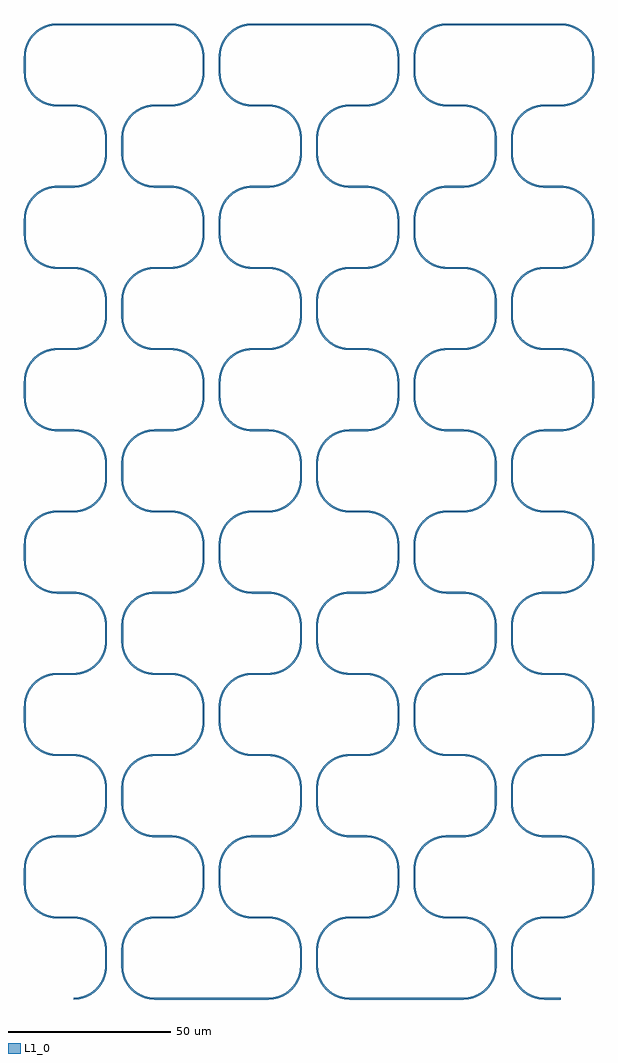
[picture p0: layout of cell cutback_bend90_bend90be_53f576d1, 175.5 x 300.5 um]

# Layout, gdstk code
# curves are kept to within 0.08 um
from math import pi, radians
import gdstk
lib = gdstk.Library(unit=1e-6, precision=1e-09)
def R(c, l, rs):  # rectangles x0, y0, x1, y1
    for r in rs: c.add(gdstk.rectangle(r[:2], r[2:], *l))
def P(c, l, *ps):  # polygons
    for p in ps: c.add(gdstk.Polygon(p, *l))
L1_0 = (1, 0)

bend_circular = lib.new_cell('bend_circular')
P(bend_circular, L1_0, [(0,-0.25),(1.967,-0.06),(3.013,0.203),(3.943,0.539),(5.685,1.471),(7.216,2.72),(8.479,4.24),(9.037,5.163),(9.461,6.057),(9.797,6.987),(10.06,8.033),(10.25,10),(9.75,10),(9.687,8.89),(9.516,7.878),(9.185,6.728),(8.79,5.781),(7.968,4.38),(6.924,3.136),(5.62,2.032),(4.219,1.21),(3.272,0.815),(2.122,0.484),(1.11,0.313),(0,0.25)])

straight_length5_width50 = lib.new_cell('straight_length5_width500n')
R(straight_length5_width50, L1_0, [(0,-0.25,5,0.25)])

straight_length30_width5 = lib.new_cell('straight_length30_width500n')
R(straight_length30_width5, L1_0, [(0,-0.25,30,0.25)])

cutback_bend90_bend90be_ = lib.new_cell('cutback_bend90_bend90be_53f576d1')
cutback_bend90_bend90be_.add(gdstk.Reference(bend_circular, (0,0)))
cutback_bend90_bend90be_.add(gdstk.Reference(straight_length5_width50, (10,10), rotation=pi/2))
cutback_bend90_bend90be_.add(gdstk.Reference(bend_circular, (10,15), rotation=pi/2))
cutback_bend90_bend90be_.add(gdstk.Reference(straight_length5_width50, (0,25), rotation=pi))
cutback_bend90_bend90be_.add(gdstk.Reference(bend_circular, (-15,35), rotation=3*pi/2))
cutback_bend90_bend90be_.add(gdstk.Reference(straight_length5_width50, (-15,35), rotation=pi/2))
cutback_bend90_bend90be_.add(gdstk.Reference(bend_circular, (-5,50), rotation=pi))
cutback_bend90_bend90be_.add(gdstk.Reference(straight_length5_width50, (-5,50)))
cutback_bend90_bend90be_.add(gdstk.Reference(bend_circular, (0,50)))
cutback_bend90_bend90be_.add(gdstk.Reference(straight_length5_width50, (10,60), rotation=pi/2))
cutback_bend90_bend90be_.add(gdstk.Reference(bend_circular, (10,65), rotation=pi/2))
cutback_bend90_bend90be_.add(gdstk.Reference(straight_length5_width50, (0,75), rotation=pi))
cutback_bend90_bend90be_.add(gdstk.Reference(bend_circular, (-15,85), rotation=3*pi/2))
cutback_bend90_bend90be_.add(gdstk.Reference(straight_length5_width50, (-15,85), rotation=pi/2))
cutback_bend90_bend90be_.add(gdstk.Reference(bend_circular, (-5,100), rotation=pi))
cutback_bend90_bend90be_.add(gdstk.Reference(straight_length5_width50, (-5,100)))
cutback_bend90_bend90be_.add(gdstk.Reference(bend_circular, (0,100)))
cutback_bend90_bend90be_.add(gdstk.Reference(straight_length5_width50, (10,110), rotation=pi/2))
cutback_bend90_bend90be_.add(gdstk.Reference(bend_circular, (10,115), rotation=pi/2))
cutback_bend90_bend90be_.add(gdstk.Reference(straight_length5_width50, (0,125), rotation=pi))
cutback_bend90_bend90be_.add(gdstk.Reference(bend_circular, (-15,135), rotation=3*pi/2))
cutback_bend90_bend90be_.add(gdstk.Reference(straight_length5_width50, (-15,135), rotation=pi/2))
cutback_bend90_bend90be_.add(gdstk.Reference(bend_circular, (-5,150), rotation=pi))
cutback_bend90_bend90be_.add(gdstk.Reference(straight_length5_width50, (-5,150)))
cutback_bend90_bend90be_.add(gdstk.Reference(bend_circular, (0,150)))
cutback_bend90_bend90be_.add(gdstk.Reference(straight_length5_width50, (10,160), rotation=pi/2))
cutback_bend90_bend90be_.add(gdstk.Reference(bend_circular, (10,165), rotation=pi/2))
cutback_bend90_bend90be_.add(gdstk.Reference(straight_length5_width50, (0,175), rotation=pi))
cutback_bend90_bend90be_.add(gdstk.Reference(bend_circular, (-15,185), rotation=3*pi/2))
cutback_bend90_bend90be_.add(gdstk.Reference(straight_length5_width50, (-15,185), rotation=pi/2))
cutback_bend90_bend90be_.add(gdstk.Reference(bend_circular, (-5,200), rotation=pi))
cutback_bend90_bend90be_.add(gdstk.Reference(straight_length5_width50, (-5,200)))
cutback_bend90_bend90be_.add(gdstk.Reference(bend_circular, (0,200)))
cutback_bend90_bend90be_.add(gdstk.Reference(straight_length5_width50, (10,210), rotation=pi/2))
cutback_bend90_bend90be_.add(gdstk.Reference(bend_circular, (10,215), rotation=pi/2))
cutback_bend90_bend90be_.add(gdstk.Reference(straight_length5_width50, (0,225), rotation=pi))
cutback_bend90_bend90be_.add(gdstk.Reference(bend_circular, (-15,235), rotation=3*pi/2))
cutback_bend90_bend90be_.add(gdstk.Reference(straight_length5_width50, (-15,235), rotation=pi/2))
cutback_bend90_bend90be_.add(gdstk.Reference(bend_circular, (-5,250), rotation=pi))
cutback_bend90_bend90be_.add(gdstk.Reference(straight_length5_width50, (-5,250)))
cutback_bend90_bend90be_.add(gdstk.Reference(bend_circular, (0,250)))
cutback_bend90_bend90be_.add(gdstk.Reference(straight_length5_width50, (10,260), rotation=pi/2))
cutback_bend90_bend90be_.add(gdstk.Reference(bend_circular, (10,265), rotation=pi/2))
cutback_bend90_bend90be_.add(gdstk.Reference(straight_length5_width50, (0,275), rotation=pi))
cutback_bend90_bend90be_.add(gdstk.Reference(bend_circular, (-15,285), rotation=3*pi/2))
cutback_bend90_bend90be_.add(gdstk.Reference(straight_length5_width50, (-15,285), rotation=pi/2))
cutback_bend90_bend90be_.add(gdstk.Reference(bend_circular, (-5,300), rotation=pi))
cutback_bend90_bend90be_.add(gdstk.Reference(straight_length5_width50, (-5,300)))
cutback_bend90_bend90be_.add(gdstk.Reference(straight_length30_width5, (0,300)))
cutback_bend90_bend90be_.add(gdstk.Reference(bend_circular, (40,290), rotation=pi/2))
cutback_bend90_bend90be_.add(gdstk.Reference(straight_length5_width50, (40,290), rotation=3*pi/2))
cutback_bend90_bend90be_.add(gdstk.Reference(bend_circular, (30,275)))
cutback_bend90_bend90be_.add(gdstk.Reference(straight_length5_width50, (30,275), rotation=pi))
cutback_bend90_bend90be_.add(gdstk.Reference(bend_circular, (25,275), rotation=pi))
cutback_bend90_bend90be_.add(gdstk.Reference(straight_length5_width50, (15,265), rotation=3*pi/2))
cutback_bend90_bend90be_.add(gdstk.Reference(bend_circular, (15,260), rotation=3*pi/2))
cutback_bend90_bend90be_.add(gdstk.Reference(straight_length5_width50, (25,250)))
cutback_bend90_bend90be_.add(gdstk.Reference(bend_circular, (40,240), rotation=pi/2))
cutback_bend90_bend90be_.add(gdstk.Reference(straight_length5_width50, (40,240), rotation=3*pi/2))
cutback_bend90_bend90be_.add(gdstk.Reference(bend_circular, (30,225)))
cutback_bend90_bend90be_.add(gdstk.Reference(straight_length5_width50, (30,225), rotation=pi))
cutback_bend90_bend90be_.add(gdstk.Reference(bend_circular, (25,225), rotation=pi))
cutback_bend90_bend90be_.add(gdstk.Reference(straight_length5_width50, (15,215), rotation=3*pi/2))
cutback_bend90_bend90be_.add(gdstk.Reference(bend_circular, (15,210), rotation=3*pi/2))
cutback_bend90_bend90be_.add(gdstk.Reference(straight_length5_width50, (25,200)))
cutback_bend90_bend90be_.add(gdstk.Reference(bend_circular, (40,190), rotation=pi/2))
cutback_bend90_bend90be_.add(gdstk.Reference(straight_length5_width50, (40,190), rotation=3*pi/2))
cutback_bend90_bend90be_.add(gdstk.Reference(bend_circular, (30,175)))
cutback_bend90_bend90be_.add(gdstk.Reference(straight_length5_width50, (30,175), rotation=pi))
cutback_bend90_bend90be_.add(gdstk.Reference(bend_circular, (25,175), rotation=pi))
cutback_bend90_bend90be_.add(gdstk.Reference(straight_length5_width50, (15,165), rotation=3*pi/2))
cutback_bend90_bend90be_.add(gdstk.Reference(bend_circular, (15,160), rotation=3*pi/2))
cutback_bend90_bend90be_.add(gdstk.Reference(straight_length5_width50, (25,150)))
cutback_bend90_bend90be_.add(gdstk.Reference(bend_circular, (40,140), rotation=pi/2))
cutback_bend90_bend90be_.add(gdstk.Reference(straight_length5_width50, (40,140), rotation=3*pi/2))
cutback_bend90_bend90be_.add(gdstk.Reference(bend_circular, (30,125)))
cutback_bend90_bend90be_.add(gdstk.Reference(straight_length5_width50, (30,125), rotation=pi))
cutback_bend90_bend90be_.add(gdstk.Reference(bend_circular, (25,125), rotation=pi))
cutback_bend90_bend90be_.add(gdstk.Reference(straight_length5_width50, (15,115), rotation=3*pi/2))
cutback_bend90_bend90be_.add(gdstk.Reference(bend_circular, (15,110), rotation=3*pi/2))
cutback_bend90_bend90be_.add(gdstk.Reference(straight_length5_width50, (25,100)))
cutback_bend90_bend90be_.add(gdstk.Reference(bend_circular, (40,90), rotation=pi/2))
cutback_bend90_bend90be_.add(gdstk.Reference(straight_length5_width50, (40,90), rotation=3*pi/2))
cutback_bend90_bend90be_.add(gdstk.Reference(bend_circular, (30,75)))
cutback_bend90_bend90be_.add(gdstk.Reference(straight_length5_width50, (30,75), rotation=pi))
cutback_bend90_bend90be_.add(gdstk.Reference(bend_circular, (25,75), rotation=pi))
cutback_bend90_bend90be_.add(gdstk.Reference(straight_length5_width50, (15,65), rotation=3*pi/2))
cutback_bend90_bend90be_.add(gdstk.Reference(bend_circular, (15,60), rotation=3*pi/2))
cutback_bend90_bend90be_.add(gdstk.Reference(straight_length5_width50, (25,50)))
cutback_bend90_bend90be_.add(gdstk.Reference(bend_circular, (40,40), rotation=pi/2))
cutback_bend90_bend90be_.add(gdstk.Reference(straight_length5_width50, (40,40), rotation=3*pi/2))
cutback_bend90_bend90be_.add(gdstk.Reference(bend_circular, (30,25)))
cutback_bend90_bend90be_.add(gdstk.Reference(straight_length5_width50, (30,25), rotation=pi))
cutback_bend90_bend90be_.add(gdstk.Reference(bend_circular, (25,25), rotation=pi))
cutback_bend90_bend90be_.add(gdstk.Reference(straight_length5_width50, (15,15), rotation=3*pi/2))
cutback_bend90_bend90be_.add(gdstk.Reference(bend_circular, (15,10), rotation=3*pi/2))
cutback_bend90_bend90be_.add(gdstk.Reference(straight_length5_width50, (25,0)))
cutback_bend90_bend90be_.add(gdstk.Reference(straight_length30_width5, (30,0)))
cutback_bend90_bend90be_.add(gdstk.Reference(bend_circular, (60,0)))
cutback_bend90_bend90be_.add(gdstk.Reference(straight_length5_width50, (70,10), rotation=pi/2))
cutback_bend90_bend90be_.add(gdstk.Reference(bend_circular, (70,15), rotation=pi/2))
cutback_bend90_bend90be_.add(gdstk.Reference(straight_length5_width50, (60,25), rotation=pi))
cutback_bend90_bend90be_.add(gdstk.Reference(bend_circular, (45,35), rotation=3*pi/2))
cutback_bend90_bend90be_.add(gdstk.Reference(straight_length5_width50, (45,35), rotation=pi/2))
cutback_bend90_bend90be_.add(gdstk.Reference(bend_circular, (55,50), rotation=pi))
cutback_bend90_bend90be_.add(gdstk.Reference(straight_length5_width50, (55,50)))
cutback_bend90_bend90be_.add(gdstk.Reference(bend_circular, (60,50)))
cutback_bend90_bend90be_.add(gdstk.Reference(straight_length5_width50, (70,60), rotation=pi/2))
cutback_bend90_bend90be_.add(gdstk.Reference(bend_circular, (70,65), rotation=pi/2))
cutback_bend90_bend90be_.add(gdstk.Reference(straight_length5_width50, (60,75), rotation=pi))
cutback_bend90_bend90be_.add(gdstk.Reference(bend_circular, (45,85), rotation=3*pi/2))
cutback_bend90_bend90be_.add(gdstk.Reference(straight_length5_width50, (45,85), rotation=pi/2))
cutback_bend90_bend90be_.add(gdstk.Reference(bend_circular, (55,100), rotation=pi))
cutback_bend90_bend90be_.add(gdstk.Reference(straight_length5_width50, (55,100)))
cutback_bend90_bend90be_.add(gdstk.Reference(bend_circular, (60,100)))
cutback_bend90_bend90be_.add(gdstk.Reference(straight_length5_width50, (70,110), rotation=pi/2))
cutback_bend90_bend90be_.add(gdstk.Reference(bend_circular, (70,115), rotation=pi/2))
cutback_bend90_bend90be_.add(gdstk.Reference(straight_length5_width50, (60,125), rotation=pi))
cutback_bend90_bend90be_.add(gdstk.Reference(bend_circular, (45,135), rotation=3*pi/2))
cutback_bend90_bend90be_.add(gdstk.Reference(straight_length5_width50, (45,135), rotation=pi/2))
cutback_bend90_bend90be_.add(gdstk.Reference(bend_circular, (55,150), rotation=pi))
cutback_bend90_bend90be_.add(gdstk.Reference(straight_length5_width50, (55,150)))
cutback_bend90_bend90be_.add(gdstk.Reference(bend_circular, (60,150)))
cutback_bend90_bend90be_.add(gdstk.Reference(straight_length5_width50, (70,160), rotation=pi/2))
cutback_bend90_bend90be_.add(gdstk.Reference(bend_circular, (70,165), rotation=pi/2))
cutback_bend90_bend90be_.add(gdstk.Reference(straight_length5_width50, (60,175), rotation=pi))
cutback_bend90_bend90be_.add(gdstk.Reference(bend_circular, (45,185), rotation=3*pi/2))
cutback_bend90_bend90be_.add(gdstk.Reference(straight_length5_width50, (45,185), rotation=pi/2))
cutback_bend90_bend90be_.add(gdstk.Reference(bend_circular, (55,200), rotation=pi))
cutback_bend90_bend90be_.add(gdstk.Reference(straight_length5_width50, (55,200)))
cutback_bend90_bend90be_.add(gdstk.Reference(bend_circular, (60,200)))
cutback_bend90_bend90be_.add(gdstk.Reference(straight_length5_width50, (70,210), rotation=pi/2))
cutback_bend90_bend90be_.add(gdstk.Reference(bend_circular, (70,215), rotation=pi/2))
cutback_bend90_bend90be_.add(gdstk.Reference(straight_length5_width50, (60,225), rotation=pi))
cutback_bend90_bend90be_.add(gdstk.Reference(bend_circular, (45,235), rotation=3*pi/2))
cutback_bend90_bend90be_.add(gdstk.Reference(straight_length5_width50, (45,235), rotation=pi/2))
cutback_bend90_bend90be_.add(gdstk.Reference(bend_circular, (55,250), rotation=pi))
cutback_bend90_bend90be_.add(gdstk.Reference(straight_length5_width50, (55,250)))
cutback_bend90_bend90be_.add(gdstk.Reference(bend_circular, (60,250)))
cutback_bend90_bend90be_.add(gdstk.Reference(straight_length5_width50, (70,260), rotation=pi/2))
cutback_bend90_bend90be_.add(gdstk.Reference(bend_circular, (70,265), rotation=pi/2))
cutback_bend90_bend90be_.add(gdstk.Reference(straight_length5_width50, (60,275), rotation=pi))
cutback_bend90_bend90be_.add(gdstk.Reference(bend_circular, (45,285), rotation=3*pi/2))
cutback_bend90_bend90be_.add(gdstk.Reference(straight_length5_width50, (45,285), rotation=pi/2))
cutback_bend90_bend90be_.add(gdstk.Reference(bend_circular, (55,300), rotation=pi))
cutback_bend90_bend90be_.add(gdstk.Reference(straight_length5_width50, (55,300)))
cutback_bend90_bend90be_.add(gdstk.Reference(straight_length30_width5, (60,300)))
cutback_bend90_bend90be_.add(gdstk.Reference(bend_circular, (100,290), rotation=pi/2))
cutback_bend90_bend90be_.add(gdstk.Reference(straight_length5_width50, (100,290), rotation=3*pi/2))
cutback_bend90_bend90be_.add(gdstk.Reference(bend_circular, (90,275)))
cutback_bend90_bend90be_.add(gdstk.Reference(straight_length5_width50, (90,275), rotation=pi))
cutback_bend90_bend90be_.add(gdstk.Reference(bend_circular, (85,275), rotation=pi))
cutback_bend90_bend90be_.add(gdstk.Reference(straight_length5_width50, (75,265), rotation=3*pi/2))
cutback_bend90_bend90be_.add(gdstk.Reference(bend_circular, (75,260), rotation=3*pi/2))
cutback_bend90_bend90be_.add(gdstk.Reference(straight_length5_width50, (85,250)))
cutback_bend90_bend90be_.add(gdstk.Reference(bend_circular, (100,240), rotation=pi/2))
cutback_bend90_bend90be_.add(gdstk.Reference(straight_length5_width50, (100,240), rotation=3*pi/2))
cutback_bend90_bend90be_.add(gdstk.Reference(bend_circular, (90,225)))
cutback_bend90_bend90be_.add(gdstk.Reference(straight_length5_width50, (90,225), rotation=pi))
cutback_bend90_bend90be_.add(gdstk.Reference(bend_circular, (85,225), rotation=pi))
cutback_bend90_bend90be_.add(gdstk.Reference(straight_length5_width50, (75,215), rotation=3*pi/2))
cutback_bend90_bend90be_.add(gdstk.Reference(bend_circular, (75,210), rotation=3*pi/2))
cutback_bend90_bend90be_.add(gdstk.Reference(straight_length5_width50, (85,200)))
cutback_bend90_bend90be_.add(gdstk.Reference(bend_circular, (100,190), rotation=pi/2))
cutback_bend90_bend90be_.add(gdstk.Reference(straight_length5_width50, (100,190), rotation=3*pi/2))
cutback_bend90_bend90be_.add(gdstk.Reference(bend_circular, (90,175)))
cutback_bend90_bend90be_.add(gdstk.Reference(straight_length5_width50, (90,175), rotation=pi))
cutback_bend90_bend90be_.add(gdstk.Reference(bend_circular, (85,175), rotation=pi))
cutback_bend90_bend90be_.add(gdstk.Reference(straight_length5_width50, (75,165), rotation=3*pi/2))
cutback_bend90_bend90be_.add(gdstk.Reference(bend_circular, (75,160), rotation=3*pi/2))
cutback_bend90_bend90be_.add(gdstk.Reference(straight_length5_width50, (85,150)))
cutback_bend90_bend90be_.add(gdstk.Reference(bend_circular, (100,140), rotation=pi/2))
cutback_bend90_bend90be_.add(gdstk.Reference(straight_length5_width50, (100,140), rotation=3*pi/2))
cutback_bend90_bend90be_.add(gdstk.Reference(bend_circular, (90,125)))
cutback_bend90_bend90be_.add(gdstk.Reference(straight_length5_width50, (90,125), rotation=pi))
cutback_bend90_bend90be_.add(gdstk.Reference(bend_circular, (85,125), rotation=pi))
cutback_bend90_bend90be_.add(gdstk.Reference(straight_length5_width50, (75,115), rotation=3*pi/2))
cutback_bend90_bend90be_.add(gdstk.Reference(bend_circular, (75,110), rotation=3*pi/2))
cutback_bend90_bend90be_.add(gdstk.Reference(straight_length5_width50, (85,100)))
cutback_bend90_bend90be_.add(gdstk.Reference(bend_circular, (100,90), rotation=pi/2))
cutback_bend90_bend90be_.add(gdstk.Reference(straight_length5_width50, (100,90), rotation=3*pi/2))
cutback_bend90_bend90be_.add(gdstk.Reference(bend_circular, (90,75)))
cutback_bend90_bend90be_.add(gdstk.Reference(straight_length5_width50, (90,75), rotation=pi))
cutback_bend90_bend90be_.add(gdstk.Reference(bend_circular, (85,75), rotation=pi))
cutback_bend90_bend90be_.add(gdstk.Reference(straight_length5_width50, (75,65), rotation=3*pi/2))
cutback_bend90_bend90be_.add(gdstk.Reference(bend_circular, (75,60), rotation=3*pi/2))
cutback_bend90_bend90be_.add(gdstk.Reference(straight_length5_width50, (85,50)))
cutback_bend90_bend90be_.add(gdstk.Reference(bend_circular, (100,40), rotation=pi/2))
cutback_bend90_bend90be_.add(gdstk.Reference(straight_length5_width50, (100,40), rotation=3*pi/2))
cutback_bend90_bend90be_.add(gdstk.Reference(bend_circular, (90,25)))
cutback_bend90_bend90be_.add(gdstk.Reference(straight_length5_width50, (90,25), rotation=pi))
cutback_bend90_bend90be_.add(gdstk.Reference(bend_circular, (85,25), rotation=pi))
cutback_bend90_bend90be_.add(gdstk.Reference(straight_length5_width50, (75,15), rotation=3*pi/2))
cutback_bend90_bend90be_.add(gdstk.Reference(bend_circular, (75,10), rotation=3*pi/2))
cutback_bend90_bend90be_.add(gdstk.Reference(straight_length5_width50, (85,0)))
cutback_bend90_bend90be_.add(gdstk.Reference(straight_length30_width5, (90,0)))
cutback_bend90_bend90be_.add(gdstk.Reference(bend_circular, (120,0)))
cutback_bend90_bend90be_.add(gdstk.Reference(straight_length5_width50, (130,10), rotation=pi/2))
cutback_bend90_bend90be_.add(gdstk.Reference(bend_circular, (130,15), rotation=pi/2))
cutback_bend90_bend90be_.add(gdstk.Reference(straight_length5_width50, (120,25), rotation=pi))
cutback_bend90_bend90be_.add(gdstk.Reference(bend_circular, (105,35), rotation=3*pi/2))
cutback_bend90_bend90be_.add(gdstk.Reference(straight_length5_width50, (105,35), rotation=pi/2))
cutback_bend90_bend90be_.add(gdstk.Reference(bend_circular, (115,50), rotation=pi))
cutback_bend90_bend90be_.add(gdstk.Reference(straight_length5_width50, (115,50)))
cutback_bend90_bend90be_.add(gdstk.Reference(bend_circular, (120,50)))
cutback_bend90_bend90be_.add(gdstk.Reference(straight_length5_width50, (130,60), rotation=pi/2))
cutback_bend90_bend90be_.add(gdstk.Reference(bend_circular, (130,65), rotation=pi/2))
cutback_bend90_bend90be_.add(gdstk.Reference(straight_length5_width50, (120,75), rotation=pi))
cutback_bend90_bend90be_.add(gdstk.Reference(bend_circular, (105,85), rotation=3*pi/2))
cutback_bend90_bend90be_.add(gdstk.Reference(straight_length5_width50, (105,85), rotation=pi/2))
cutback_bend90_bend90be_.add(gdstk.Reference(bend_circular, (115,100), rotation=pi))
cutback_bend90_bend90be_.add(gdstk.Reference(straight_length5_width50, (115,100)))
cutback_bend90_bend90be_.add(gdstk.Reference(bend_circular, (120,100)))
cutback_bend90_bend90be_.add(gdstk.Reference(straight_length5_width50, (130,110), rotation=pi/2))
cutback_bend90_bend90be_.add(gdstk.Reference(bend_circular, (130,115), rotation=pi/2))
cutback_bend90_bend90be_.add(gdstk.Reference(straight_length5_width50, (120,125), rotation=pi))
cutback_bend90_bend90be_.add(gdstk.Reference(bend_circular, (105,135), rotation=3*pi/2))
cutback_bend90_bend90be_.add(gdstk.Reference(straight_length5_width50, (105,135), rotation=pi/2))
cutback_bend90_bend90be_.add(gdstk.Reference(bend_circular, (115,150), rotation=pi))
cutback_bend90_bend90be_.add(gdstk.Reference(straight_length5_width50, (115,150)))
cutback_bend90_bend90be_.add(gdstk.Reference(bend_circular, (120,150)))
cutback_bend90_bend90be_.add(gdstk.Reference(straight_length5_width50, (130,160), rotation=pi/2))
cutback_bend90_bend90be_.add(gdstk.Reference(bend_circular, (130,165), rotation=pi/2))
cutback_bend90_bend90be_.add(gdstk.Reference(straight_length5_width50, (120,175), rotation=pi))
cutback_bend90_bend90be_.add(gdstk.Reference(bend_circular, (105,185), rotation=3*pi/2))
cutback_bend90_bend90be_.add(gdstk.Reference(straight_length5_width50, (105,185), rotation=pi/2))
cutback_bend90_bend90be_.add(gdstk.Reference(bend_circular, (115,200), rotation=pi))
cutback_bend90_bend90be_.add(gdstk.Reference(straight_length5_width50, (115,200)))
cutback_bend90_bend90be_.add(gdstk.Reference(bend_circular, (120,200)))
cutback_bend90_bend90be_.add(gdstk.Reference(straight_length5_width50, (130,210), rotation=pi/2))
cutback_bend90_bend90be_.add(gdstk.Reference(bend_circular, (130,215), rotation=pi/2))
cutback_bend90_bend90be_.add(gdstk.Reference(straight_length5_width50, (120,225), rotation=pi))
cutback_bend90_bend90be_.add(gdstk.Reference(bend_circular, (105,235), rotation=3*pi/2))
cutback_bend90_bend90be_.add(gdstk.Reference(straight_length5_width50, (105,235), rotation=pi/2))
cutback_bend90_bend90be_.add(gdstk.Reference(bend_circular, (115,250), rotation=pi))
cutback_bend90_bend90be_.add(gdstk.Reference(straight_length5_width50, (115,250)))
cutback_bend90_bend90be_.add(gdstk.Reference(bend_circular, (120,250)))
cutback_bend90_bend90be_.add(gdstk.Reference(straight_length5_width50, (130,260), rotation=pi/2))
cutback_bend90_bend90be_.add(gdstk.Reference(bend_circular, (130,265), rotation=pi/2))
cutback_bend90_bend90be_.add(gdstk.Reference(straight_length5_width50, (120,275), rotation=pi))
cutback_bend90_bend90be_.add(gdstk.Reference(bend_circular, (105,285), rotation=3*pi/2))
cutback_bend90_bend90be_.add(gdstk.Reference(straight_length5_width50, (105,285), rotation=pi/2))
cutback_bend90_bend90be_.add(gdstk.Reference(bend_circular, (115,300), rotation=pi))
cutback_bend90_bend90be_.add(gdstk.Reference(straight_length5_width50, (115,300)))
cutback_bend90_bend90be_.add(gdstk.Reference(straight_length30_width5, (120,300)))
cutback_bend90_bend90be_.add(gdstk.Reference(bend_circular, (160,290), rotation=pi/2))
cutback_bend90_bend90be_.add(gdstk.Reference(straight_length5_width50, (160,290), rotation=3*pi/2))
cutback_bend90_bend90be_.add(gdstk.Reference(bend_circular, (150,275)))
cutback_bend90_bend90be_.add(gdstk.Reference(straight_length5_width50, (150,275), rotation=pi))
cutback_bend90_bend90be_.add(gdstk.Reference(bend_circular, (145,275), rotation=pi))
cutback_bend90_bend90be_.add(gdstk.Reference(straight_length5_width50, (135,265), rotation=3*pi/2))
cutback_bend90_bend90be_.add(gdstk.Reference(bend_circular, (135,260), rotation=3*pi/2))
cutback_bend90_bend90be_.add(gdstk.Reference(straight_length5_width50, (145,250)))
cutback_bend90_bend90be_.add(gdstk.Reference(bend_circular, (160,240), rotation=pi/2))
cutback_bend90_bend90be_.add(gdstk.Reference(straight_length5_width50, (160,240), rotation=3*pi/2))
cutback_bend90_bend90be_.add(gdstk.Reference(bend_circular, (150,225)))
cutback_bend90_bend90be_.add(gdstk.Reference(straight_length5_width50, (150,225), rotation=pi))
cutback_bend90_bend90be_.add(gdstk.Reference(bend_circular, (145,225), rotation=pi))
cutback_bend90_bend90be_.add(gdstk.Reference(straight_length5_width50, (135,215), rotation=3*pi/2))
cutback_bend90_bend90be_.add(gdstk.Reference(bend_circular, (135,210), rotation=3*pi/2))
cutback_bend90_bend90be_.add(gdstk.Reference(straight_length5_width50, (145,200)))
cutback_bend90_bend90be_.add(gdstk.Reference(bend_circular, (160,190), rotation=pi/2))
cutback_bend90_bend90be_.add(gdstk.Reference(straight_length5_width50, (160,190), rotation=3*pi/2))
cutback_bend90_bend90be_.add(gdstk.Reference(bend_circular, (150,175)))
cutback_bend90_bend90be_.add(gdstk.Reference(straight_length5_width50, (150,175), rotation=pi))
cutback_bend90_bend90be_.add(gdstk.Reference(bend_circular, (145,175), rotation=pi))
cutback_bend90_bend90be_.add(gdstk.Reference(straight_length5_width50, (135,165), rotation=3*pi/2))
cutback_bend90_bend90be_.add(gdstk.Reference(bend_circular, (135,160), rotation=3*pi/2))
cutback_bend90_bend90be_.add(gdstk.Reference(straight_length5_width50, (145,150)))
cutback_bend90_bend90be_.add(gdstk.Reference(bend_circular, (160,140), rotation=pi/2))
cutback_bend90_bend90be_.add(gdstk.Reference(straight_length5_width50, (160,140), rotation=3*pi/2))
cutback_bend90_bend90be_.add(gdstk.Reference(bend_circular, (150,125)))
cutback_bend90_bend90be_.add(gdstk.Reference(straight_length5_width50, (150,125), rotation=pi))
cutback_bend90_bend90be_.add(gdstk.Reference(bend_circular, (145,125), rotation=pi))
cutback_bend90_bend90be_.add(gdstk.Reference(straight_length5_width50, (135,115), rotation=3*pi/2))
cutback_bend90_bend90be_.add(gdstk.Reference(bend_circular, (135,110), rotation=3*pi/2))
cutback_bend90_bend90be_.add(gdstk.Reference(straight_length5_width50, (145,100)))
cutback_bend90_bend90be_.add(gdstk.Reference(bend_circular, (160,90), rotation=pi/2))
cutback_bend90_bend90be_.add(gdstk.Reference(straight_length5_width50, (160,90), rotation=3*pi/2))
cutback_bend90_bend90be_.add(gdstk.Reference(bend_circular, (150,75)))
cutback_bend90_bend90be_.add(gdstk.Reference(straight_length5_width50, (150,75), rotation=pi))
cutback_bend90_bend90be_.add(gdstk.Reference(bend_circular, (145,75), rotation=pi))
cutback_bend90_bend90be_.add(gdstk.Reference(straight_length5_width50, (135,65), rotation=3*pi/2))
cutback_bend90_bend90be_.add(gdstk.Reference(bend_circular, (135,60), rotation=3*pi/2))
cutback_bend90_bend90be_.add(gdstk.Reference(straight_length5_width50, (145,50)))
cutback_bend90_bend90be_.add(gdstk.Reference(bend_circular, (160,40), rotation=pi/2))
cutback_bend90_bend90be_.add(gdstk.Reference(straight_length5_width50, (160,40), rotation=3*pi/2))
cutback_bend90_bend90be_.add(gdstk.Reference(bend_circular, (150,25)))
cutback_bend90_bend90be_.add(gdstk.Reference(straight_length5_width50, (150,25), rotation=pi))
cutback_bend90_bend90be_.add(gdstk.Reference(bend_circular, (145,25), rotation=pi))
cutback_bend90_bend90be_.add(gdstk.Reference(straight_length5_width50, (135,15), rotation=3*pi/2))
cutback_bend90_bend90be_.add(gdstk.Reference(bend_circular, (135,10), rotation=3*pi/2))
cutback_bend90_bend90be_.add(gdstk.Reference(straight_length5_width50, (145,0)))

lib.write_gds('cutback_bend90_bend90be_53f576d1.gds')
